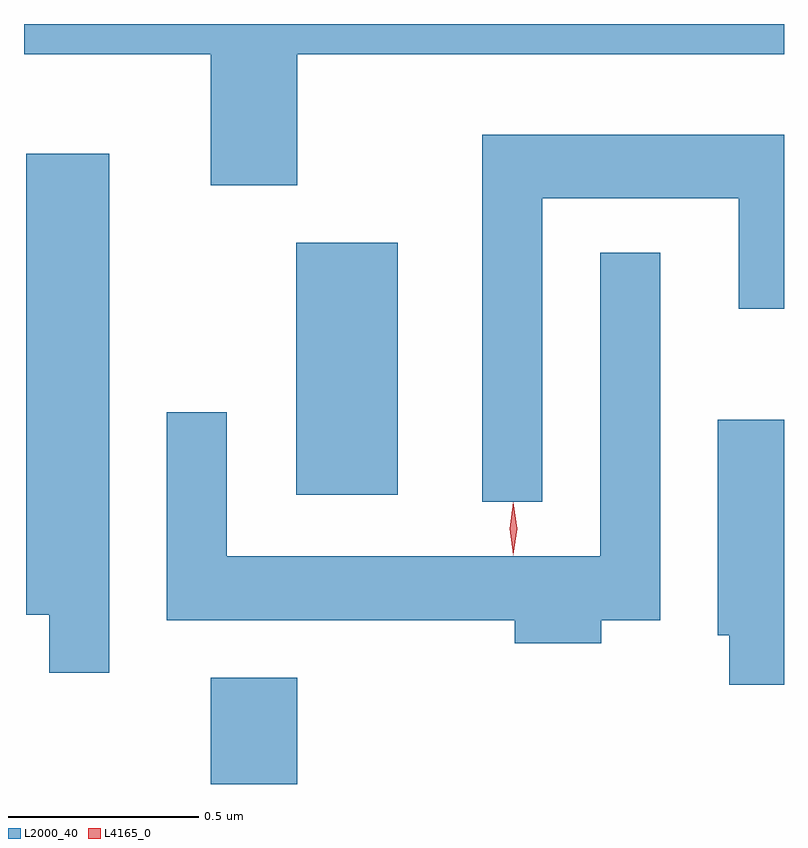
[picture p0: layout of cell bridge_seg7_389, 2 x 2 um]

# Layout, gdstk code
import gdstk
lib = gdstk.Library(unit=1e-6, precision=1e-09)
def R(c, l, rs):  # rectangles x0, y0, x1, y1
    for r in rs: c.add(gdstk.rectangle(r[:2], r[2:], *l))
def P(c, l, *ps):  # polygons
    for p in ps: c.add(gdstk.Polygon(p, *l))
L2000_40 = (2000, 40)
L4165_0 = (4165, 0)

bridge_seg7_389 = lib.new_cell('bridge_seg7_389')
R(bridge_seg7_389, L2000_40, [(1091.201,1747.915,1091.429,1748.194), (1091.426,1748.676,1091.694,1749.339)])
P(bridge_seg7_389, L2000_40, [(1091.429,1749.836),(1092.71,1749.836),(1092.71,1749.915),(1090.71,1749.915),(1090.71,1749.836),(1091.201,1749.836),(1091.201,1749.491),(1091.429,1749.491)],
  [(1092.074,1749.456),(1092.591,1749.456),(1092.591,1749.166),(1092.71,1749.166),(1092.71,1749.624),(1091.916,1749.624),(1091.916,1748.658),(1092.074,1748.658)],
  [(1090.934,1749.574),(1090.716,1749.574),(1090.716,1748.361),(1090.776,1748.361),(1090.776,1748.208),(1090.934,1748.208)],
  [(1092.229,1748.346),(1092.384,1748.346),(1092.384,1749.313),(1092.226,1749.313),(1092.226,1748.514),(1091.244,1748.514),(1091.244,1748.893),(1091.086,1748.893),(1091.086,1748.346),(1092.001,1748.346),(1092.001,1748.286),(1092.229,1748.286)],
  [(1092.71,1748.874),(1092.536,1748.874),(1092.536,1748.306),(1092.566,1748.306),(1092.566,1748.176),(1092.71,1748.176)])
P(bridge_seg7_389, L4165_0, [(1091.998,1748.517),(1091.997,1748.518),(1091.988,1748.587),(1091.997,1748.656),(1091.997,1748.656),(1091.998,1748.656),(1092.008,1748.587),(1091.998,1748.518)])

lib.write_gds('bridge_seg7_389.gds')
